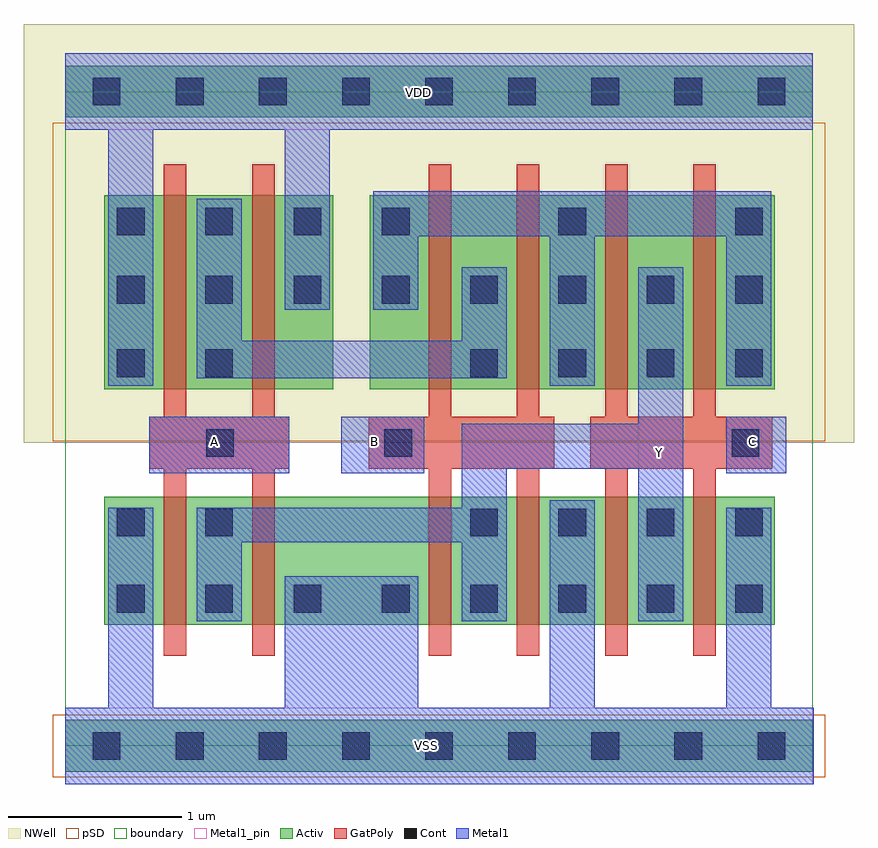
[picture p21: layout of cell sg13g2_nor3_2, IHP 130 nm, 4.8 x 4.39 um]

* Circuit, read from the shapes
.subckt sg13g2_nor3_2 A B C VDD VSS Y
XM1 Y A VSS VSS sg13_lv_nmos w=0.74u l=0.13u m=2
XM2 Y B VSS VSS sg13_lv_nmos w=0.74u l=0.13u m=2
XM3 Y C VSS VSS sg13_lv_nmos w=0.74u l=0.13u m=2
XM4 n1 A VDD VDD sg13_lv_pmos w=1.12u l=0.13u m=2
XM5 n1 B n2 VDD sg13_lv_pmos w=1.12u l=0.13u m=2
XM6 Y C n2 VDD sg13_lv_pmos w=1.12u l=0.13u m=2
.ends

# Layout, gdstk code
import gdstk
lib = gdstk.Library(unit=1e-6, precision=1e-09)
def R(c, l, rs):  # rectangles x0, y0, x1, y1
    for r in rs: c.add(gdstk.rectangle(r[:2], r[2:], *l))
def A(c, l, x, y, w, h, nx, ny, dx, dy):  # array of equal rectangles
    R(c, l, [(x+i*dx, y+j*dy, x+i*dx+w, y+j*dy+h) for i in range(nx) for j in range(ny)])
def P(c, l, *ps):  # polygons
    for p in ps: c.add(gdstk.Polygon(p, *l))
Activ = (1, 0)
GatPoly = (5, 0)
Cont = (6, 0)
Metal1 = (8, 0)
Metal1_pin = (8, 2)
pSD = (14, 0)
NWell = (31, 0)
boundary = (189, 4)

sg13g2_nor3_2 = lib.new_cell('sg13g2_nor3_2')
R(sg13g2_nor3_2, Activ, [(0,-0.15,4.32,0.15), (0.225,0.7,4.1,1.44), (0.225,2.06,1.55,3.18), (1.76,2.06,4.1,3.18), (0,3.63,4.32,3.93)])
P(sg13g2_nor3_2, GatPoly, [(0.57,0.52),(0.57,1.6),(0.485,1.6),(0.485,1.9),(0.57,1.9),(0.57,3.36),(0.7,3.36),(0.7,1.9),(1.08,1.9),(1.08,3.36),(1.21,3.36),(1.21,1.9),(1.295,1.9),(1.295,1.6),(1.21,1.6),(1.21,0.52),(1.08,0.52),(1.08,1.6),(0.7,1.6),(0.7,0.52)],
  [(2.1,0.52),(2.1,1.6),(1.755,1.6),(1.755,1.9),(2.1,1.9),(2.1,3.36),(2.23,3.36),(2.23,1.9),(2.61,1.9),(2.61,3.36),(2.74,3.36),(2.74,1.9),(2.825,1.9),(2.825,1.6),(2.74,1.6),(2.74,0.52),(2.61,0.52),(2.61,1.6),(2.23,1.6),(2.23,0.52)],
  [(3.12,0.52),(3.12,1.6),(3.035,1.6),(3.035,1.9),(3.12,1.9),(3.12,3.36),(3.25,3.36),(3.25,1.9),(3.63,1.9),(3.63,3.36),(3.76,3.36),(3.76,1.9),(4.085,1.9),(4.085,1.6),(3.76,1.6),(3.76,0.52),(3.63,0.52),(3.63,1.6),(3.25,1.6),(3.25,0.52)])
A(sg13g2_nor3_2, Cont, 0.16, -0.08, 0.16, 0.16, 9, 2, 0.48, 3.78)
A(sg13g2_nor3_2, Cont, 0.3, 0.77, 0.16, 0.16, 8, 2, 0.51, 1.785)
A(sg13g2_nor3_2, Cont, 2.34, 1.21, 0.16, 0.16, 4, 2, 0.51, 0.92)
A(sg13g2_nor3_2, Cont, 0.3, 2.95, 0.16, 0.16, 4, 1, 0.51, 0)
R(sg13g2_nor3_2, Cont, [(0.3,1.21,0.46,1.37), (0.81,1.21,0.97,1.37), (0.815,1.67,0.975,1.83), (1.845,1.67,2.005,1.83), (3.85,1.67,4.01,1.83), (0.3,2.13,0.46,2.29), (0.81,2.13,0.97,2.29), (2.85,2.95,3.01,3.11), (3.87,2.95,4.03,3.11)])
R(sg13g2_nor3_2, Metal1, [(0.485,1.575,1.295,1.9), (1.595,1.575,2.075,1.9), (3.82,1.575,4.165,1.9)])
P(sg13g2_nor3_2, Metal1, [(0.25,2.08),(0.25,3.56),(0,3.56),(0,4),(4.32,4),(4.32,3.56),(1.53,3.56),(1.53,2.52),(1.27,2.52),(1.27,3.56),(0.51,3.56),(0.51,2.08)],
  [(0,-0.22),(0,0.22),(0.25,0.22),(0.25,1.375),(0.51,1.375),(0.51,0.22),(1.27,0.22),(1.27,0.98),(2.04,0.98),(2.04,0.22),(2.8,0.22),(2.8,1.42),(3.06,1.42),(3.06,0.22),(3.82,0.22),(3.82,1.375),(4.08,1.375),(4.08,0.22),(4.325,0.22),(4.325,-0.22)],
  [(0.76,0.72),(0.76,1.375),(2.29,1.375),(2.29,1.86),(3.31,1.86),(3.31,2.765),(3.57,2.765),(3.57,0.72),(3.31,0.72),(3.31,1.6),(2.55,1.6),(2.55,0.72),(2.29,0.72),(2.29,1.175),(1.02,1.175),(1.02,0.72)],
  [(2.8,2.08),(2.8,2.945),(2.04,2.945),(2.04,2.52),(1.78,2.52),(1.78,3.205),(4.08,3.205),(4.08,2.08),(3.82,2.08),(3.82,2.945),(3.06,2.945),(3.06,2.08)],
  [(0.76,2.125),(0.76,3.16),(1.02,3.16),(1.02,2.34),(2.29,2.34),(2.29,2.765),(2.55,2.765),(2.55,2.125)])
R(sg13g2_nor3_2, Metal1_pin, [(0,-0.22,4.32,0.22), (3.31,0.72,3.57,2.765), (0.485,1.575,1.295,1.9), (1.595,1.575,2.075,1.9), (3.82,1.575,4.165,1.9), (0,3.56,4.32,4)])
R(sg13g2_nor3_2, pSD, [(-0.07,-0.18,4.39,0.18), (-0.07,1.76,4.39,3.6)])
R(sg13g2_nor3_2, NWell, [(-0.24,1.75,4.56,4.17)])
R(sg13g2_nor3_2, boundary, [(0,0,4.32,3.78)])
sg13g2_nor3_2.add(gdstk.Label('C', (3.97,1.76), layer=8, texttype=25))
sg13g2_nor3_2.add(gdstk.Label('VSS', (2.085,0.005), layer=8, texttype=25))
sg13g2_nor3_2.add(gdstk.Label('A', (0.865,1.76), layer=8, texttype=25))
sg13g2_nor3_2.add(gdstk.Label('B', (1.79,1.76), layer=8, texttype=25))
sg13g2_nor3_2.add(gdstk.Label('Y', (3.435,1.695), layer=8, texttype=25))
sg13g2_nor3_2.add(gdstk.Label('VDD', (2.04,3.775), layer=8, texttype=25))

lib.write_gds('sg13g2_nor3_2.gds')
